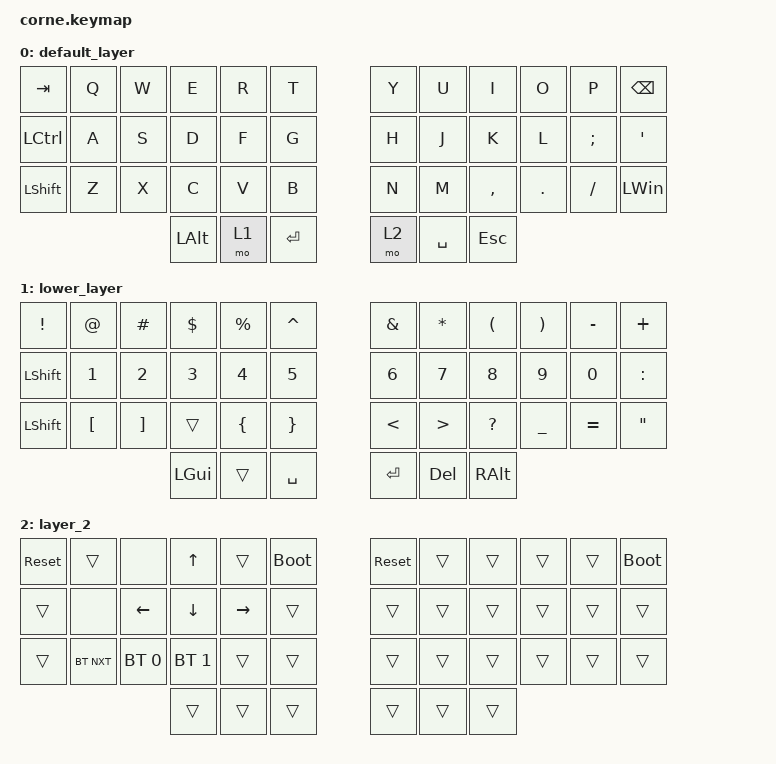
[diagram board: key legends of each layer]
/*
 * Copyright (c) 2020 The ZMK Contributors
 *
 * SPDX-License-Identifier: MIT
 */

#include <behaviors.dtsi>
#include <dt-bindings/zmk/bt.h>
#include <dt-bindings/zmk/keys.h>

/ {
    keymap {
        compatible = "zmk,keymap";

        default_layer {
            // -----------------------------------------------------------------------------------------
            // |  TAB |  Q  |  W  |  E  |  R  |  T  |   |  Y  |  U   |  I  |  O  |  P  | BSPC |
            // | CTRL |  A  |  S  |  D  |  F  |  G  |   |  H  |  J   |  K  |  L  |  ;  |  '   |
            // | SHFT |  Z  |  X  |  C  |  V  |  B  |   |  N  |  M   |  ,  |  .  |  /  | ESC  |
            //                    | GUI | LWR | SPC |   | ENT | RSE  | ALT |

            bindings = <
&kp TAB    &kp Q  &kp W  &kp E         &kp R  &kp T        &kp Y  &kp U      &kp I       &kp O    &kp P     &kp BSPC
&kp LCTRL  &kp A  &kp S  &kp D         &kp F  &kp G        &kp H  &kp J      &kp K       &kp L    &kp SEMI  &kp SQT
&kp LSHFT  &kp Z  &kp X  &kp C         &kp V  &kp B        &kp N  &kp M      &kp COMMA   &kp DOT  &kp FSLH  &kp LEFT_WIN
                         &kp LEFT_ALT  &mo 1  &kp ENTER    &mo 2  &kp SPACE  &kp ESCAPE
            >;
        };

        lower_layer {
            // -----------------------------------------------------------------------------------------
            // |  TAB |  1  |  2  |  3  |  4  |  5  |   |  6  |  7  |  8  |  9  |  0  | BSPC |
            // | BTCLR| BT1 | BT2 | BT3 | BT4 | BT5 |   | LFT | DWN |  UP | RGT |     |      |
            // | SHFT |     |     |     |     |     |   |     |     |     |     |     |      |
            //                    | GUI |     | SPC |   | ENT |     | ALT |

            bindings = <
&kp EXCLAMATION  &kp AT_SIGN       &kp HASH           &kp DOLLAR  &kp PERCENT     &kp CARET          &kp AMPERSAND  &kp ASTERISK      &kp LEFT_PARENTHESIS  &kp RIGHT_PARENTHESIS  &kp MINUS     &kp PLUS
&kp LEFT_SHIFT   &kp N1            &kp N2             &kp N3      &kp N4          &kp NUMBER_5       &kp N6         &kp NUMBER_7      &kp NUMBER_8          &kp NUMBER_9           &kp NUMBER_0  &kp COLON
&kp LSHFT        &kp LEFT_BRACKET  &kp RIGHT_BRACKET  &trans      &kp LEFT_BRACE  &kp RIGHT_BRACE    &kp LESS_THAN  &kp GREATER_THAN  &kp QUESTION          &kp UNDER              &kp EQUAL     &kp DOUBLE_QUOTES
                                                      &kp LGUI    &trans          &kp SPACE          &kp RET        &kp DEL           &kp RALT
            >;
        };

        layer_2 {
            bindings = <
&sys_reset  &trans      &none           &kp UP_ARROW    &trans           &bootloader    &sys_reset  &trans  &trans  &trans  &trans  &bootloader
&trans      &none       &kp LEFT_ARROW  &kp DOWN_ARROW  &kp RIGHT_ARROW  &trans         &trans      &trans  &trans  &trans  &trans  &trans
&trans      &bt BT_NXT  &bt BT_SEL 0    &bt BT_SEL 1    &trans           &trans         &trans      &trans  &trans  &trans  &trans  &trans
                                        &trans          &trans           &trans         &trans      &trans  &trans
            >;
        };
    };
};
